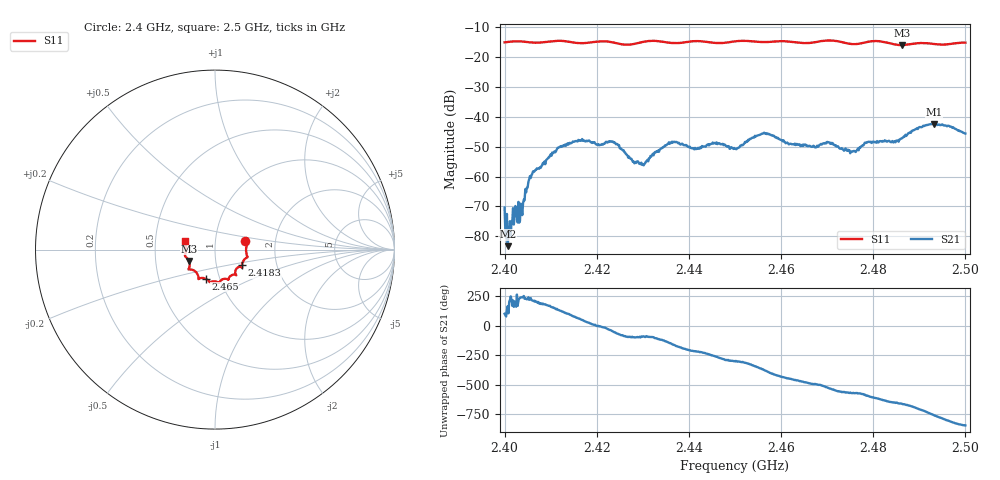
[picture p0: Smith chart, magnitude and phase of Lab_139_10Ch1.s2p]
# Hz S RI R 50
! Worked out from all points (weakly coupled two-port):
!   601 points, 2.4 GHz to 2.5 GHz, reference 50 ohm
!   highest |S21| = -42.38 dB at 2.4932 GHz (marker M1); lowest = -83.3 dB at 2.4007 GHz (marker M2)
!   lowest |S11| = -16.0 dB at 2.4862 GHz (marker M3), VSWR 1.37, Z = 37.1 - j4.82 ohm
!   |S11| at or under -10 dB: start of sweep to end of sweep
!   S12 and S22 are empty: the file has one direction only
!   S11 on the Smith chart (normalised r, x): 2.4 GHz: 1.40, +0.13; 2.4183 GHz: 1.33, -0.24; 2.465 GHz: 0.86, -0.29; 2.5 GHz: 0.71, +0.07
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2.4e9  0.1689 0.0461  -6.32e-05 0.000296  0 0  0 0
2.400667e9  0.1728 0.0419  -6.64e-05 1.66e-05  0 0  0 0
2.403667e9  0.1795 0.029  -0.00015 -0.000269  0 0  0 0
2.405e9  0.1761 0.0188  -0.000415 -0.000507  0 0  0 0
2.4065e9  0.1729 0.00272  -0.00102 -0.00068  0 0  0 0
2.411833e9  0.1816 -0.0413  -0.00208 0.0023  0 0  0 0
2.416667e9  0.1555 -0.0685  0.00248 0.00314  0 0  0 0
2.418333e9  0.1501 -0.0873  0.00362 0.00171  0 0  0 0
2.4235e9  0.1459 -0.097  0.00257 -0.00286  0 0  0 0
2.429667e9  0.1133 -0.1342  -1.51e-05 -0.00171  0 0  0 0
2.433333e9  0.1171 -0.1414  -0.00107 -0.0025  0 0  0 0
2.436833e9  0.0916 -0.1437  -0.00367 -0.00106  0 0  0 0
2.45e9  0.0252 -0.1806  0.00157 0.00247  0 0  0 0
2.456167e9  -0.0024 -0.1773  0.0052 -0.00115  0 0  0 0
2.465e9  -0.0527 -0.1621  -0.00163 -0.00301  0 0  0 0
2.466667e9  -0.0715 -0.1577  -0.00215 -0.00229  0 0  0 0
2.4705e9  -0.0923 -0.1646  -0.00367 -0.00054  0 0  0 0
2.4755e9  -0.1058 -0.1252  -0.00223 0.00135  0 0  0 0
2.483333e9  -0.1421 -0.0958  0.000851 0.00386  0 0  0 0
2.486167e9  -0.1445 -0.0633  0.00222 0.00372  0 0  0 0
2.493167e9  -0.1639 -0.0174  0.00599 -0.00469  0 0  0 0
2.5e9  -0.1668 0.0473  -0.00306 -0.00425  0 0  0 0
